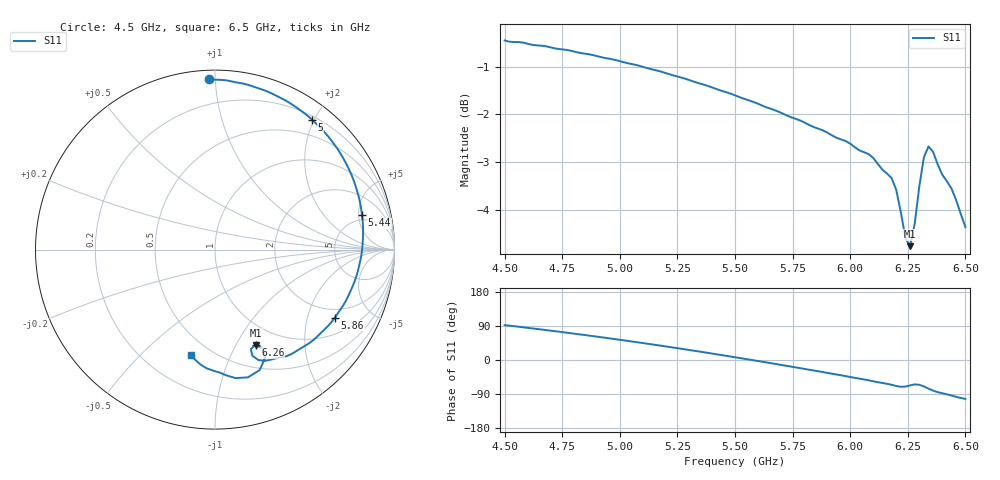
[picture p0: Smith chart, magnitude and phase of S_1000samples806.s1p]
! TOUCHSTONE file generated by CST MICROWAVE STUDIO
! Date and time: Sat Oct 29 11:07:39 2022
! Project name: L.cst
! Parameters = {Di=1.27; Epsilon_r=1.56; InnerDiameter=1.27; Length=2; Lf=10; Lg=60; OuterConductorThickness=0.2921; OuterDiameter=3.6; Wf=3; Wp=41.2; de=1.5; df=6.8; g=0.8; gx=1.29618; gy=4.2207; h=2.34; hf=1.524; px=8.43633; py=14.4931; w=9.7; wx=7.14015; wy=10.2724}
! Header version: 2018
! Port assignment regex: !\s*Touchstone port\s*([0-9]+)\s*=\s*(CST MWS port|CST DS port)\s*([0-9]+|Zmin|Zmax)\s*\(\"(.*)\"\)(\s*mode\s*([0-9]+))?.*
! Touchstone port assignment:
! Touchstone port 1 = CST MWS port 1 ("")
# GHz S DB R 50
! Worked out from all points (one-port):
!   101 points, 4.5 GHz to 6.5 GHz, reference 50 ohm
!   lowest |S11| = -4.8 dB at 6.26 GHz (marker M1), VSWR 3.73, Z = 37.8 - j60.3 ohm
!   |S11| at or under -10 dB: nowhere
!   S11 on the Smith chart (normalised r, x): 4.5 GHz: 0.05, +0.96; 5 GHz: 0.25, +1.97; 5.44 GHz: 4.20, +5.52; 5.86 GHz: 1.62, -2.98; 6.26 GHz: 0.76, -1.21; 6.5 GHz: 0.39, -0.72
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4.5  -0.45 92.0
4.66  -0.55 80.5
4.76  -0.64 72.9
4.88  -0.75 63.3
5  -0.88 53.3
5.14  -1.05 41.2
5.26  -1.22 30.3
5.36  -1.37 20.9
5.44  -1.50 13.2
5.5  -1.60 7.3
5.62  -1.82 -4.8
5.76  -2.09 -19.1
5.86  -2.30 -29.6
6  -2.62 -44.8
6.1  -2.91 -56.2
6.18  -3.34 -65.5
6.2  -3.59 -68.5
6.22  -4.06 -70.6
6.24  -4.60 -70.1
6.26  -4.77 -67.0
6.28  -4.30 -64.3
6.3  -3.51 -65.3
6.32  -2.90 -69.7
6.34  -2.67 -75.6
6.36  -2.79 -80.9
6.38  -3.05 -84.8
6.44  -3.56 -93.9
6.5  -4.37 -102.8
